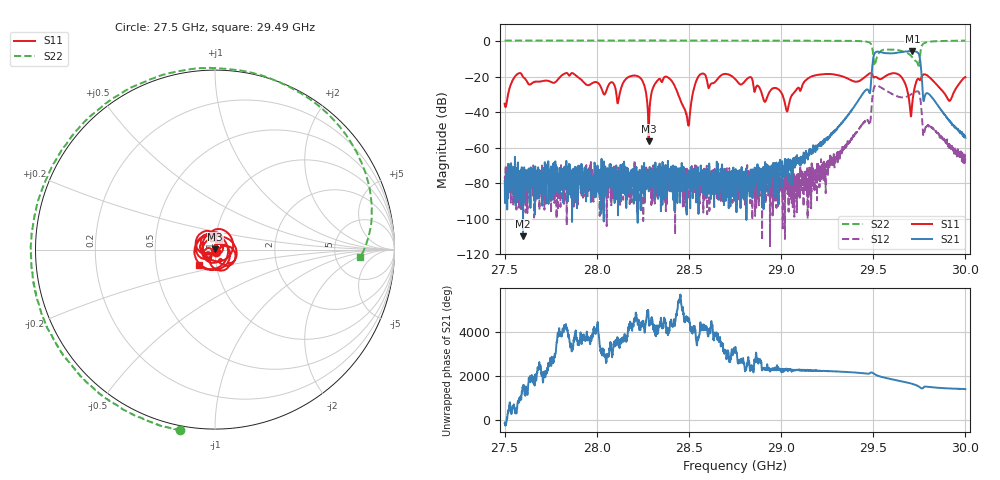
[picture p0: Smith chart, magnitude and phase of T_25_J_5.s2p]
!Keysight Technologies,N5234A,MY55441357,A.10.47.05
!Date: Sunday, November 19, 2017 13:19:15
!Correction: S11(Full 2 Port(1,2))
!S21(Full 2 Port(1,2))
!S12(Full 2 Port(1,2))
!S22(Full 2 Port(1,2))
!S2P File: Measurements: S11, S21, S12, S22:
# Hz S  dB  R 50
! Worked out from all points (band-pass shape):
!   2501 points, 27.5 GHz to 30 GHz, reference 50 ohm
!   highest |S21| = -5.68 dB at 29.71 GHz (marker M1); lowest = -109.9 dB at 27.6 GHz (marker M2)
!   |S21| within 3 dB of the highest: 29.5 GHz to 29.75 GHz (249 MHz wide, 0.841 % of centre)
!   lowest |S11| = -56.5 dB at 28.28 GHz (marker M3), VSWR 1.00, Z = 50.1 + j0.0875 ohm
!   |S11| at or under -10 dB: start of sweep to end of sweep
!   |S22| runs from -15.1 to 0.3 dB; largest |S21 - S12| = 0.54
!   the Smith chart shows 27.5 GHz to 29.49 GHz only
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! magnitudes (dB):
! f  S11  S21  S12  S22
! 27.5 GHz  -35.3  -79.0  -77.3  0.2
! 27.6 GHz  -20.3  -109.9  -74.0  0.2
! 27.92 GHz  -21.9  -79.8  -85.3  0.2
! 28.12 GHz  -34.3  -79.6  -74.9  0.2
! 28.22 GHz  -19.8  -102.3  -80.3  0.2
! 28.28 GHz  -56.5  -76.2  -76.0  0.3
! 28.33 GHz  -21.7  -81.6  -70.4  0.3
! 28.41 GHz  -22.4  -74.0  -84.7  0.2
! 28.49 GHz  -46.3  -73.1  -82.5  0.2
! 28.56 GHz  -18.8  -80.8  -75.6  0.2
! 28.75 GHz  -21.4  -79.4  -81.6  0.2
! 28.98 GHz  -26.9  -75.8  -77.4  0.1
! 29.03 GHz  -39.7  -68.2  -83.1  0.1
! 29.17 GHz  -19.9  -62.3  -73.5  0.1
! 29.48 GHz  -18.6  -28.0  -45.8  -0.7
! 29.51 GHz  -20.2  -6.3  -25.1  -11.7
! 29.58 GHz  -18.8  -7.0  -28.8  -4.9
! 29.71 GHz  -33.8  -5.7  -29.5  -9.3
! 29.75 GHz  -21.4  -7.3  -28.7  -15.1
! 29.78 GHz  -18.8  -31.4  -50.3  -1.1
! 29.91 GHz  -33.8  -45.0  -58.3  0.1
! 30 GHz  -20.4  -54.4  -66.6  0.2
